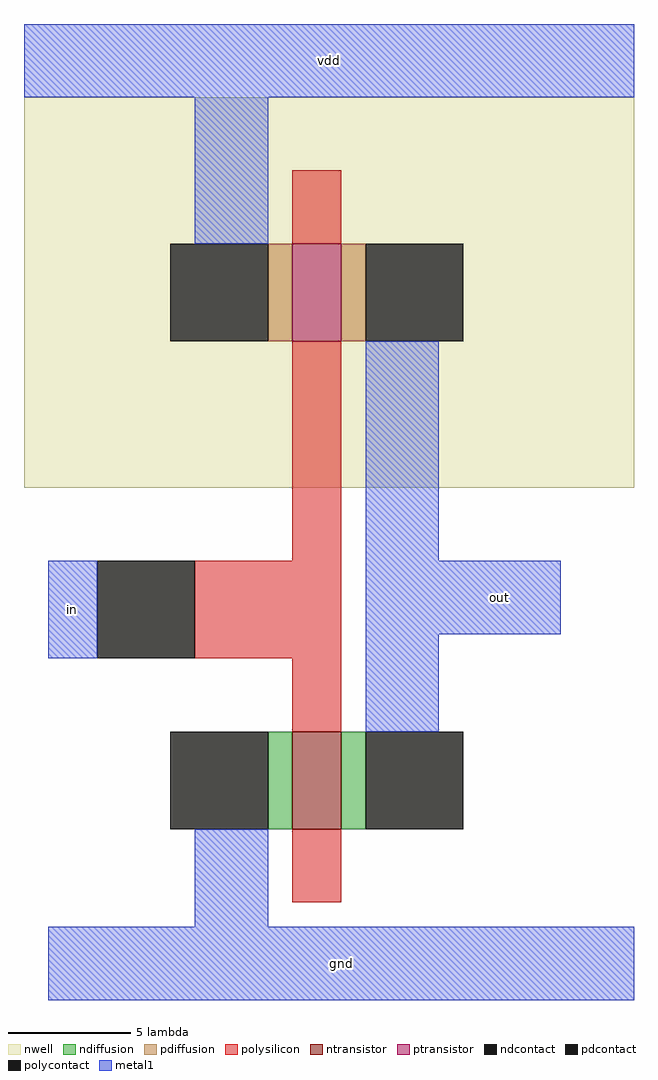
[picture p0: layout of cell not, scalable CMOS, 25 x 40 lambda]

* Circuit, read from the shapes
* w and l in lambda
.subckt not gnd in out vdd
M1 out in gnd VSUBS nfet w=4 l=2
M2 out in vdd n1 pfet w=4 l=2
.ends

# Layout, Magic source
magic
tech scmos
<< nwell >>
rect 0 0 25 16
<< ntransistor >>
rect 11 -14 13 -10
<< ptransistor >>
rect 11 6 13 10
<< ndiffusion >>
rect 10 -14 11 -10
rect 13 -14 14 -10
<< pdiffusion >>
rect 10 6 11 10
rect 13 6 14 10
<< ndcontact >>
rect 6 -14 10 -10
rect 14 -14 18 -10
<< pdcontact >>
rect 6 6 10 10
rect 14 6 18 10
<< polysilicon >>
rect 11 10 13 13
rect 11 -3 13 6
rect 7 -7 13 -3
rect 11 -10 13 -7
rect 11 -17 13 -14
<< polycontact >>
rect 3 -7 7 -3
<< metal1 >>
rect 0 16 25 19
rect 7 10 10 16
rect 14 -3 17 6
rect 1 -7 3 -3
rect 14 -6 22 -3
rect 14 -10 17 -6
rect 7 -18 10 -14
rect 1 -21 25 -18
<< labels >>
rlabel metal1 0 16 25 19 5 vdd
rlabel metal1 17 -6 22 -3 1 out
rlabel metal1 1 -7 3 -3 3 in
rlabel metal1 1 -21 25 -18 1 gnd
<< end >>
